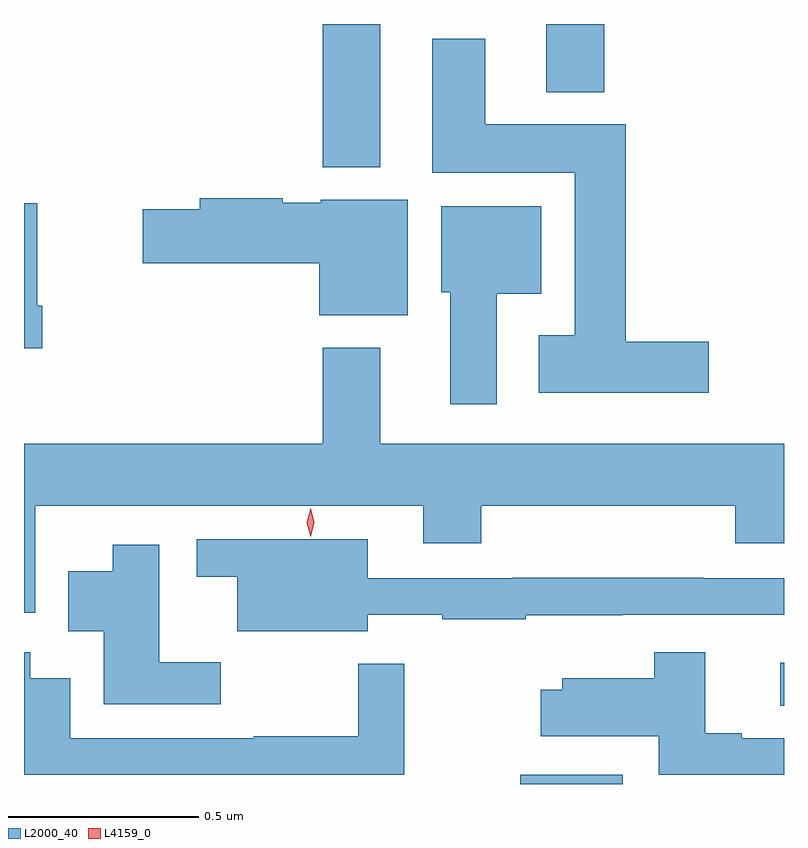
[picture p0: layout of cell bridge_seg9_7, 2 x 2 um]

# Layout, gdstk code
import gdstk
lib = gdstk.Library(unit=1e-6, precision=1e-09)
def R(c, l, rs):  # rectangles x0, y0, x1, y1
    for r in rs: c.add(gdstk.rectangle(r[:2], r[2:], *l))
def P(c, l, *ps):  # polygons
    for p in ps: c.add(gdstk.Polygon(p, *l))
L2000_40 = (2000, 40)
L4159_0 = (4159, 0)

bridge_seg9_7 = lib.new_cell('bridge_seg9_7')
R(bridge_seg9_7, L2000_40, [(1031.907,1239.644,1032.177,1239.669), (1032.591,1239.85,1032.601,1239.963), (1031.387,1241.267,1031.539,1241.644), (1031.975,1241.465,1032.128,1241.644)])
P(bridge_seg9_7, L2000_40, [(1032.403,1240.808),(1032.185,1240.808),(1032.185,1241.38),(1031.815,1241.38),(1031.815,1241.605),(1031.675,1241.605),(1031.675,1241.252),(1032.05,1241.252),(1032.05,1240.825),(1031.955,1240.825),(1031.955,1240.673),(1032.403,1240.673)],
  [(1031.611,1241.182),(1031.382,1241.182),(1031.382,1241.173),(1031.282,1241.173),(1031.282,1241.186),(1031.063,1241.186),(1031.063,1241.156),(1030.914,1241.156),(1030.914,1241.014),(1031.378,1241.014),(1031.378,1240.877),(1031.611,1240.877)],
  [(1030.649,1240.903),(1030.636,1240.903),(1030.636,1241.172),(1030.601,1241.172),(1030.601,1240.791),(1030.649,1240.791)],
  [(1031.845,1240.934),(1031.962,1240.934),(1031.962,1241.164),(1031.699,1241.164),(1031.699,1240.938),(1031.723,1240.938),(1031.723,1240.644),(1031.845,1240.644)],
  [(1030.631,1240.376),(1031.651,1240.376),(1031.651,1240.277),(1031.804,1240.277),(1031.804,1240.376),(1032.473,1240.376),(1032.473,1240.278),(1032.601,1240.278),(1032.601,1240.54),(1031.539,1240.54),(1031.539,1240.792),(1031.387,1240.792),(1031.387,1240.54),(1030.601,1240.54),(1030.601,1240.095),(1030.631,1240.095)],
  [(1031.506,1240.089),(1031.702,1240.089),(1031.702,1240.077),(1031.921,1240.077),(1031.921,1240.088),(1032.176,1240.088),(1032.176,1240.089),(1032.601,1240.089),(1032.601,1240.185),(1032.389,1240.185),(1032.389,1240.187),(1031.887,1240.187),(1031.887,1240.185),(1031.506,1240.185),(1031.506,1240.288),(1031.055,1240.288),(1031.055,1240.189),(1031.162,1240.189),(1031.162,1240.046),(1031.506,1240.046)],
  [(1031.119,1239.964),(1030.957,1239.964),(1030.957,1240.273),(1030.835,1240.273),(1030.835,1240.204),(1030.718,1240.204),(1030.718,1240.046),(1030.811,1240.046),(1030.811,1239.854),(1031.119,1239.854)],
  [(1032.601,1239.765),(1032.49,1239.765),(1032.49,1239.778),(1032.394,1239.778),(1032.394,1239.991),(1032.26,1239.991),(1032.26,1239.922),(1032.017,1239.922),(1032.017,1239.892),(1031.961,1239.892),(1031.961,1239.77),(1032.272,1239.77),(1032.272,1239.669),(1032.601,1239.669)],
  [(1031.602,1239.961),(1031.481,1239.961),(1031.481,1239.77),(1031.206,1239.77),(1031.206,1239.765),(1030.723,1239.765),(1030.723,1239.922),(1030.618,1239.922),(1030.618,1239.991),(1030.601,1239.991),(1030.601,1239.669),(1031.602,1239.669)])
P(bridge_seg9_7, L4159_0, [(1031.355,1240.295),(1031.355,1240.295),(1031.345,1240.332),(1031.355,1240.37),(1031.355,1240.37),(1031.355,1240.37),(1031.365,1240.332),(1031.355,1240.295)])

lib.write_gds('bridge_seg9_7.gds')
